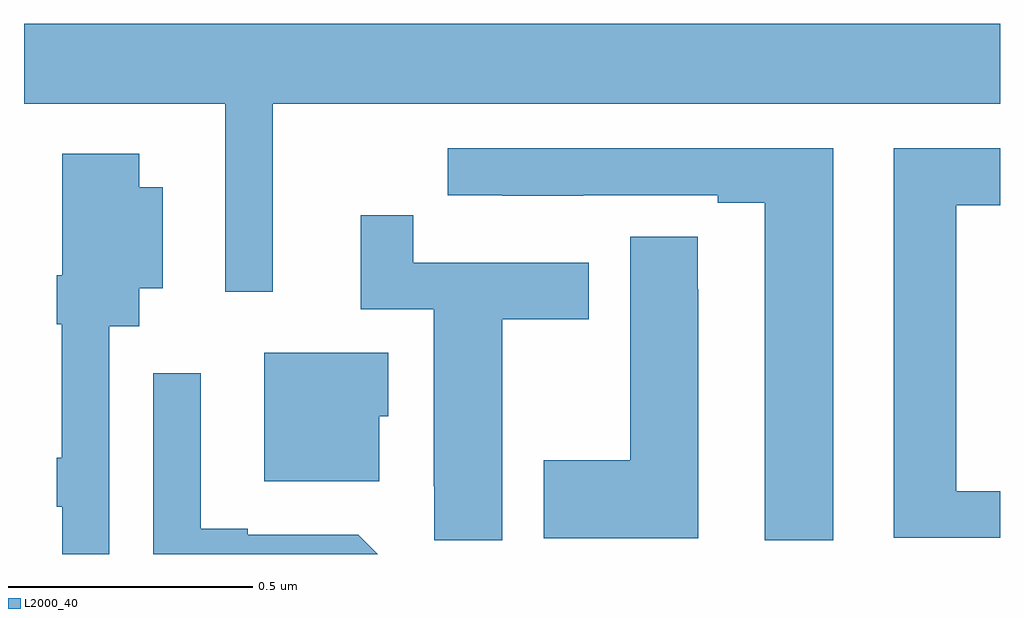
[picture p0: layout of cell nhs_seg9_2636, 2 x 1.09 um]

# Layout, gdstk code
import gdstk
lib = gdstk.Library(unit=1e-6, precision=1e-09)
def P(c, l, *ps):  # polygons
    for p in ps: c.add(gdstk.Polygon(p, *l))
L2000_40 = (2000, 40)

nhs_seg9_2636 = lib.new_cell('nhs_seg9_2636')
P(nhs_seg9_2636, L2000_40, [(143.51,1192.424),(145,1192.424),(145,1192.588),(143,1192.588),(143,1192.424),(143.412,1192.424),(143.412,1192.038),(143.51,1192.038)],
  [(144.658,1192.332),(143.868,1192.332),(143.868,1192.236),(143.98,1192.236),(143.98,1192.235),(144.146,1192.235),(144.146,1192.236),(144.422,1192.236),(144.422,1192.221),(144.518,1192.221),(144.518,1191.529),(144.658,1191.529)],
  [(145,1191.63),(144.91,1191.63),(144.91,1192.216),(145,1192.216),(145,1192.332),(144.782,1192.332),(144.782,1191.534),(145,1191.534)],
  [(143.175,1191.968),(143.236,1191.968),(143.236,1192.046),(143.284,1192.046),(143.284,1192.252),(143.236,1192.252),(143.236,1192.321),(143.078,1192.321),(143.078,1192.072),(143.067,1192.072),(143.067,1191.972),(143.077,1191.972),(143.077,1191.698),(143.067,1191.698),(143.067,1191.598),(143.078,1191.598),(143.078,1191.5),(143.175,1191.5)],
  [(143.98,1191.982),(144.157,1191.982),(144.157,1192.098),(143.798,1192.098),(143.798,1192.195),(143.69,1192.195),(143.69,1192.002),(143.84,1192.002),(143.84,1191.64),(143.841,1191.64),(143.841,1191.529),(143.98,1191.529)],
  [(144.382,1192.043),(144.381,1192.043),(144.381,1192.151),(144.242,1192.151),(144.242,1191.693),(144.065,1191.693),(144.065,1191.533),(144.382,1191.533)],
  [(143.728,1191.783),(143.746,1191.783),(143.746,1191.913),(143.492,1191.913),(143.492,1191.65),(143.728,1191.65)],
  [(143.685,1191.54),(143.458,1191.54),(143.458,1191.553),(143.362,1191.553),(143.362,1191.871),(143.265,1191.871),(143.265,1191.5),(143.725,1191.5)])

lib.write_gds('nhs_seg9_2636.gds')
